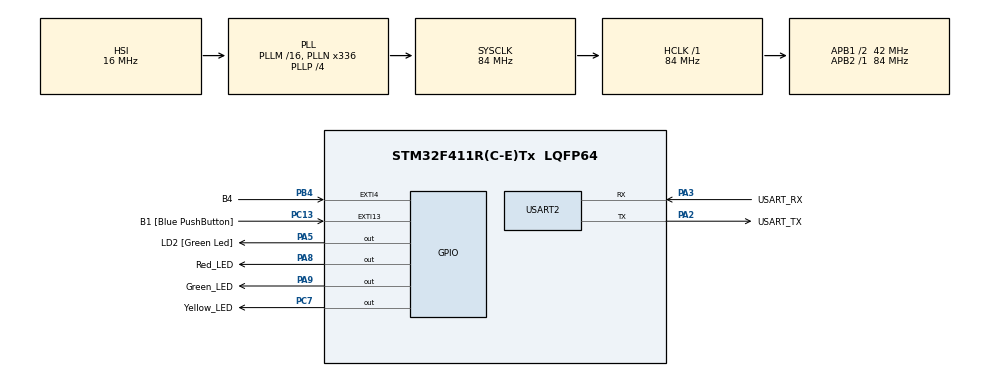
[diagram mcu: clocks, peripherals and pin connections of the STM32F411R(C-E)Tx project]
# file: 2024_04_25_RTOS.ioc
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FREERTOS.BinarySemaphores01=myBinarySem01,Dynamic,NULL
FREERTOS.Tasks01=defaultTask,0,128,StartTask01,Default,NULL,Dynamic,NULL,NULL;myTask02,-2,128,StartTask02,Default,NULL,Dynamic,NULL,NULL;myTask03,-3,128,StartTask03,Default,NULL,Dynamic,NULL,NULL
FREERTOS.configUSE_NEWLIB_REENTRANT=1
Mcu.Family=STM32F4
Mcu.Name=STM32F411R(C-E)Tx
Mcu.Package=LQFP64
NVIC.EXTI4_IRQn=true\:0\:0\:false\:false\:true\:false\:true\:true\:true
NVIC.PriorityGroup=NVIC_PRIORITYGROUP_4
NVIC.TIM1_BRK_TIM9_IRQn=true\:15\:0\:false\:false\:true\:false\:false\:true\:true
NVIC.TimeBase=TIM1_BRK_TIM9_IRQn
NVIC.TimeBaseIP=TIM9
PA13.GPIO_Label=TMS
PA13.Mode=Serial_Wire
PA13.Signal=SYS_JTMS-SWDIO
PA14.GPIO_Label=TCK
PA14.Mode=Serial_Wire
PA14.Signal=SYS_JTCK-SWCLK
PA2.GPIO_Label=USART_TX
PA2.Mode=Asynchronous
PA2.Signal=USART2_TX
PA3.GPIO_Label=USART_RX
PA3.Mode=Asynchronous
PA3.Signal=USART2_RX
PA5.GPIO_Label=LD2 [Green Led]
PA5.Signal=GPIO_Output
PA8.GPIO_Label=Red_LED
PA8.Signal=GPIO_Output
PA9.GPIO_Label=Green_LED
PA9.Signal=GPIO_Output
PB3.GPIO_Label=SWO
PB3.Signal=SYS_JTDO-SWO
PB4.GPIO_Label=B4
PB4.Signal=GPXTI4
PC13-ANTI_TAMP.GPIO_Label=B1 [Blue PushButton]
PC13-ANTI_TAMP.GPIO_ModeDefaultEXTI=GPIO_MODE_IT_FALLING
PC13-ANTI_TAMP.Signal=GPXTI13
PC14-OSC32_IN.Mode=LSE-External-Oscillator
PC14-OSC32_IN.Signal=RCC_OSC32_IN
PC15-OSC32_OUT.Mode=LSE-External-Oscillator
PC15-OSC32_OUT.Signal=RCC_OSC32_OUT
PC7.GPIO_Label=Yellow_LED
PC7.Signal=GPIO_Output
PH0\ -\ OSC_IN.Mode=HSE-External-Clock-Source
PH0\ -\ OSC_IN.Signal=RCC_OSC_IN
PH1\ -\ OSC_OUT.Mode=HSE-External-Clock-Source
PH1\ -\ OSC_OUT.Signal=RCC_OSC_OUT
ProjectManager.HeapSize=0x200
ProjectManager.StackSize=0x400
ProjectManager.TargetToolchain=STM32CubeIDE
RCC.48MHZClocksFreq_Value=84000000
RCC.AHBFreq_Value=84000000
RCC.APB1CLKDivider=RCC_HCLK_DIV2
RCC.APB1Freq_Value=42000000
RCC.APB1TimFreq_Value=84000000
RCC.APB2Freq_Value=84000000
RCC.APB2TimFreq_Value=84000000
RCC.CortexFreq_Value=84000000
RCC.FLatency-AdvancedSettings=FLASH_LATENCY_2
RCC.HCLKFreq_Value=84000000
RCC.HSE_VALUE=8000000
RCC.HSI_VALUE=16000000
RCC.PLLN=336
RCC.PLLP=RCC_PLLP_DIV4
RCC.SYSCLKFreq_VALUE=84000000
RCC.SYSCLKSource=RCC_SYSCLKSOURCE_PLLCLK
RCC.VCOOutputFreq_Value=336000000
USART2.VirtualMode=VM_ASYNC
VP_FREERTOS_VS_CMSIS_V1.Mode=CMSIS_V1
VP_SYS_VS_tim9.Mode=TIM9
board=NUCLEO-F411RE

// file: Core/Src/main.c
/* USER CODE BEGIN Header */
/**
  ******************************************************************************
  * @file           : main.c
  * @brief          : Main program body
  ******************************************************************************
  * @attention
  *
  * Copyright (c) 2024 STMicroelectronics.
  * All rights reserved.
  *
  * This software is licensed under terms that can be found in the LICENSE file
  * in the root directory of this software component.
  * If no LICENSE file comes with this software, it is provided AS-IS.
  *
  ******************************************************************************
  */
/* USER CODE END Header */
#include "main.h"
#include "cmsis_os.h"

/* USER CODE BEGIN Includes */
#include "D:\PJH\Github_clone\Haman3rd_PJH\ARM Architecture\Common\myLib.h"
/* USER CODE END Includes */

UART_HandleTypeDef huart2;

osThreadId defaultTaskHandle;
osThreadId myTask02Handle;
osThreadId myTask03Handle;
osSemaphoreId myBinarySem01Handle;

void SystemClock_Config(void);
static void MX_GPIO_Init(void);
static void MX_USART2_UART_Init(void);
void StartTask01(void const * argument);
void StartTask02(void const * argument);
void StartTask03(void const * argument);

/* USER CODE BEGIN 0 */
int IsHolding = 0;
void HAL_GPIO_EXTI_Callback(uint16_t GPIO_Pin)
{
  if(GPIO_Pin == B4_Pin)
  {
    if(!IsHolding)
    {
      while(osSemaphoreWait(myBinarySem01Handle, 10) != osOK);
      IsHolding = 1;
      Outs("Semaphore Holding!");
    }
    else
    {
      osSemaphoreRelease(myBinarySem01Handle);
      IsHolding = 0;
      Outs("Semaphore Released!\r");
    }
  }
}
/* USER CODE END 0 */

int main(void)
{

  /* MCU Configuration--------------------------------------------------------*/

  /* Reset of all peripherals, Initializes the Flash interface and the Systick. */
  HAL_Init();

  /* Configure the system clock */
  SystemClock_Config();

  /* Initialize all configured peripherals */
  MX_GPIO_Init();
  MX_USART2_UART_Init();

  /* Create the semaphores(s) */
  /* definition and creation of myBinarySem01 */
  osSemaphoreDef(myBinarySem01);
  myBinarySem01Handle = osSemaphoreCreate(osSemaphore(myBinarySem01), 1);

  /* Create the thread(s) */
  /* definition and creation of defaultTask */
  osThreadDef(defaultTask, StartTask01, osPriorityNormal, 0, 128);
  defaultTaskHandle = osThreadCreate(osThread(defaultTask), NULL);

  /* definition and creation of myTask02 */
  osThreadDef(myTask02, StartTask02, osPriorityLow, 0, 128);
  myTask02Handle = osThreadCreate(osThread(myTask02), NULL);

  /* definition and creation of myTask03 */
  osThreadDef(myTask03, StartTask03, osPriorityIdle, 0, 128);
  myTask03Handle = osThreadCreate(osThread(myTask03), NULL);

  /* USER CODE BEGIN RTOS_THREADS */
  /* add threads, ... */
  ProgramStart();
  /* USER CODE END RTOS_THREADS */

  /* Start scheduler */
  osKernelStart();

  /* We should never get here as control is now taken by the scheduler */

  /* Infinite loop */
  while (1)
  {

  }
}

void SystemClock_Config(void)
{
  RCC_OscInitTypeDef RCC_OscInitStruct = {0};
  RCC_ClkInitTypeDef RCC_ClkInitStruct = {0};

  /** Configure the main internal regulator output voltage
  */
  __HAL_RCC_PWR_CLK_ENABLE();
  __HAL_PWR_VOLTAGESCALING_CONFIG(PWR_REGULATOR_VOLTAGE_SCALE1);

  /** Initializes the RCC Oscillators according to the specified parameters
  * in the RCC_OscInitTypeDef structure.
  */
  RCC_OscInitStruct.OscillatorType = RCC_OSCILLATORTYPE_HSI;
  RCC_OscInitStruct.HSIState = RCC_HSI_ON;
  RCC_OscInitStruct.HSICalibrationValue = RCC_HSICALIBRATION_DEFAULT;
  RCC_OscInitStruct.PLL.PLLState = RCC_PLL_ON;
  RCC_OscInitStruct.PLL.PLLSource = RCC_PLLSOURCE_HSI;
  RCC_OscInitStruct.PLL.PLLM = 16;
  RCC_OscInitStruct.PLL.PLLN = 336;
  RCC_OscInitStruct.PLL.PLLP = RCC_PLLP_DIV4;
  RCC_OscInitStruct.PLL.PLLQ = 4;
  if (HAL_RCC_OscConfig(&RCC_OscInitStruct) != HAL_OK)
  {
    Error_Handler();
  }

  /** Initializes the CPU, AHB and APB buses clocks
  */
  RCC_ClkInitStruct.ClockType = RCC_CLOCKTYPE_HCLK|RCC_CLOCKTYPE_SYSCLK
                              |RCC_CLOCKTYPE_PCLK1|RCC_CLOCKTYPE_PCLK2;
  RCC_ClkInitStruct.SYSCLKSource = RCC_SYSCLKSOURCE_PLLCLK;
  RCC_ClkInitStruct.AHBCLKDivider = RCC_SYSCLK_DIV1;
  RCC_ClkInitStruct.APB1CLKDivider = RCC_HCLK_DIV2;
  RCC_ClkInitStruct.APB2CLKDivider = RCC_HCLK_DIV1;

  if (HAL_RCC_ClockConfig(&RCC_ClkInitStruct, FLASH_LATENCY_2) != HAL_OK)
  {
    Error_Handler();
  }
}

static void MX_USART2_UART_Init(void)
{

  huart2.Instance = USART2;
  huart2.Init.BaudRate = 115200;
  huart2.Init.WordLength = UART_WORDLENGTH_8B;
  huart2.Init.StopBits = UART_STOPBITS_1;
  huart2.Init.Parity = UART_PARITY_NONE;
  huart2.Init.Mode = UART_MODE_TX_RX;
  huart2.Init.HwFlowCtl = UART_HWCONTROL_NONE;
  huart2.Init.OverSampling = UART_OVERSAMPLING_16;
  if (HAL_UART_Init(&huart2) != HAL_OK)
  {
    Error_Handler();
  }

}

static void MX_GPIO_Init(void)
{
  GPIO_InitTypeDef GPIO_InitStruct = {0};

  /* GPIO Ports Clock Enable */
  __HAL_RCC_GPIOC_CLK_ENABLE();
  __HAL_RCC_GPIOH_CLK_ENABLE();
  __HAL_RCC_GPIOA_CLK_ENABLE();
  __HAL_RCC_GPIOB_CLK_ENABLE();

  /*Configure GPIO pin Output Level */
  HAL_GPIO_WritePin(GPIOA, LD2_Pin|Red_LED_Pin|Green_LED_Pin, GPIO_PIN_RESET);

  /*Configure GPIO pin Output Level */
  HAL_GPIO_WritePin(Yellow_LED_GPIO_Port, Yellow_LED_Pin, GPIO_PIN_RESET);

  /*Configure GPIO pin : B1_Pin */
  GPIO_InitStruct.Pin = B1_Pin;
  GPIO_InitStruct.Mode = GPIO_MODE_IT_FALLING;
  GPIO_InitStruct.Pull = GPIO_NOPULL;
  HAL_GPIO_Init(B1_GPIO_Port, &GPIO_InitStruct);

  /*Configure GPIO pins : LD2_Pin Red_LED_Pin Green_LED_Pin */
  GPIO_InitStruct.Pin = LD2_Pin|Red_LED_Pin|Green_LED_Pin;
  GPIO_InitStruct.Mode = GPIO_MODE_OUTPUT_PP;
  GPIO_InitStruct.Pull = GPIO_NOPULL;
  GPIO_InitStruct.Speed = GPIO_SPEED_FREQ_LOW;
  HAL_GPIO_Init(GPIOA, &GPIO_InitStruct);

  /*Configure GPIO pin : Yellow_LED_Pin */
  GPIO_InitStruct.Pin = Yellow_LED_Pin;
  GPIO_InitStruct.Mode = GPIO_MODE_OUTPUT_PP;
  GPIO_InitStruct.Pull = GPIO_NOPULL;
  GPIO_InitStruct.Speed = GPIO_SPEED_FREQ_LOW;
  HAL_GPIO_Init(Yellow_LED_GPIO_Port, &GPIO_InitStruct);

  /*Configure GPIO pin : B4_Pin */
  GPIO_InitStruct.Pin = B4_Pin;
  GPIO_InitStruct.Mode = GPIO_MODE_IT_RISING;
  GPIO_InitStruct.Pull = GPIO_NOPULL;
  HAL_GPIO_Init(B4_GPIO_Port, &GPIO_InitStruct);

  /* EXTI interrupt init*/
  HAL_NVIC_SetPriority(EXTI4_IRQn, 0, 0);
  HAL_NVIC_EnableIRQ(EXTI4_IRQn);

}

/* USER CODE BEGIN Header_StartTask01 */
/**
  * @brief  Function implementing the defaultTask thread..
  * @param  argument: Not used
  * @retval None
  */
int tn1 = 0;
/* USER CODE END Header_StartTask01 */
void StartTask01(void const * argument)
{
  /* USER CODE BEGIN 5 */
  /* Infinite loop */
  for(;;) // == while(1)
  {
    if(osSemaphoreWait(myBinarySem01Handle, 0) == osOK)  // osSemaphoreWait == waiting function
    {
      HAL_GPIO_TogglePin(Red_LED_GPIO_Port, Red_LED_Pin);
      HAL_Delay(100);
      printf("Process in Task01 ---------%d\r\n", tn1++);
      osSemaphoreRelease(myBinarySem01Handle);
    }
    osDelay(10);
  }
  /* USER CODE END 5 */
}

/* USER CODE BEGIN Header_StartTask02 */
/**
* @brief Function implementing the myTask02 thread.
* @param argument: Not used
* @retval None
*/
int tn2 = 0;
/* USER CODE END Header_StartTask02 */
void StartTask02(void const * argument)
{
  /* USER CODE BEGIN StartTask02 */
  /* Infinite loop */
  for(;;)
  {
    if(osSemaphoreWait(myBinarySem01Handle, 0) == osOK)  // osSemaphoreWait == waiting function
    {
      HAL_GPIO_TogglePin(Green_LED_GPIO_Port, Green_LED_Pin);
      HAL_Delay(100);
      printf("Process in Task02 ---------%d\r\n", tn2++);
      osSemaphoreRelease(myBinarySem01Handle);
    }
    osDelay(10);
  }
  /* USER CODE END StartTask02 */
}

/* USER CODE BEGIN Header_StartTask03 */
/**
* @brief Function implementing the myTask03 thread.
* @param argument: Not used
* @retval None
*/
int tn3 = 0;
/* USER CODE END Header_StartTask03 */
void StartTask03(void const * argument)
{
  /* USER CODE BEGIN StartTask03 */
  /* Infinite loop */
  for(;;)
  {
    if(osSemaphoreWait(myBinarySem01Handle, 0) == osOK)  // osSemaphoreWait == waiting function
    {
      HAL_GPIO_TogglePin(Yellow_LED_GPIO_Port, Yellow_LED_Pin);
      HAL_Delay(100);
      printf("Process in Task03 ---------%d\r\n", tn3++);
      osSemaphoreRelease(myBinarySem01Handle);
    }
    osDelay(10);
  }
  /* USER CODE END StartTask03 */
}

void HAL_TIM_PeriodElapsedCallback(TIM_HandleTypeDef *htim)
{
  if (htim->Instance == TIM9) {
    HAL_IncTick();
  }
}

void Error_Handler(void)
{
  __disable_irq();
  while (1)
  {
  }
}
